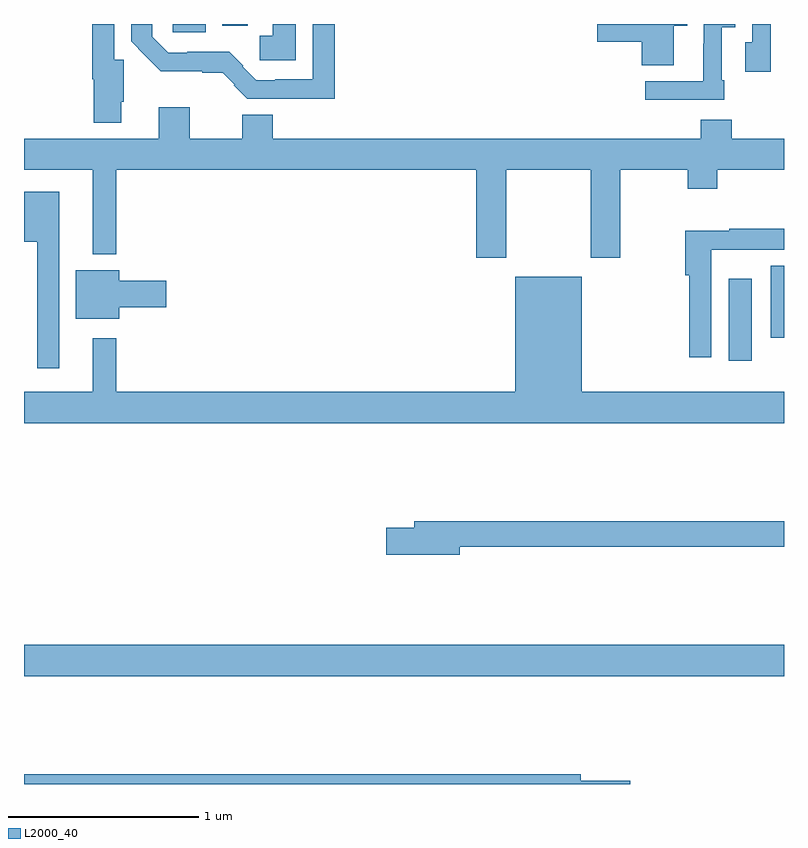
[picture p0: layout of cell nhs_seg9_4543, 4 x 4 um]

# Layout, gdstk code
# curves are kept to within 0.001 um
import gdstk
lib = gdstk.Library(unit=1e-6, precision=1e-09)
def R(c, l, rs):  # rectangles x0, y0, x1, y1
    for r in rs: c.add(gdstk.rectangle(r[:2], r[2:], *l))
def P(c, l, *ps):  # polygons
    for p in ps: c.add(gdstk.Polygon(p, *l))
L2000_40 = (2000, 40)

nhs_seg9_4543 = lib.new_cell('nhs_seg9_4543')
R(nhs_seg9_4543, L2000_40, [(371,1215.068,375,1215.232), (374.708,1216.728,374.83,1217.158), (374.93,1216.848,375,1217.228), (371.783,1218.456,371.956,1218.5), (372.044,1218.492,372.178,1218.5)])
P(nhs_seg9_4543, L2000_40, [(374.686,1218.205),(374.673,1218.205),(374.673,1218.484),(374.743,1218.484),(374.743,1218.5),(374.577,1218.5),(374.577,1218.395),(374.576,1218.395),(374.576,1218.198),(374.271,1218.198),(374.271,1218.102),(374.686,1218.102)],
  [(372.635,1218.5),(372.519,1218.5),(372.519,1218.208),(372.322,1218.208),(372.322,1218.204),(372.222,1218.204),(372.15,1218.276),(372.153,1218.279),(372.079,1218.353),(371.86,1218.353),(371.86,1218.348),(371.76,1218.348),(371.676,1218.432),(371.676,1218.5),(371.564,1218.5),(371.564,1218.408),(371.719,1218.251),(371.939,1218.251),(371.939,1218.243),(372.047,1218.243),(372.109,1218.181),(372.105,1218.177),(372.175,1218.107),(372.635,1218.107)],
  [(374.419,1218.491),(374.492,1218.491),(374.492,1218.5),(374.016,1218.5),(374.016,1218.407),(374.252,1218.407),(374.252,1218.283),(374.419,1218.283)],
  [(372.43,1218.5),(372.308,1218.5),(372.308,1218.439),(372.24,1218.439),(372.24,1218.31),(372.43,1218.31)],
  [(374.931,1218.5),(374.832,1218.5),(374.832,1218.405),(374.795,1218.405),(374.795,1218.249),(374.931,1218.249)],
  [(371.512,1218.091),(371.525,1218.091),(371.525,1218.312),(371.475,1218.312),(371.475,1218.5),(371.359,1218.5),(371.359,1218.209),(371.366,1218.209),(371.366,1217.981),(371.512,1217.981)],
  [(373.539,1217.732),(373.984,1217.732),(373.984,1217.271),(374.139,1217.271),(374.139,1217.732),(374.494,1217.732),(374.494,1217.633),(374.649,1217.633),(374.649,1217.732),(375,1217.732),(375,1217.896),(374.726,1217.896),(374.726,1217.995),(374.561,1217.995),(374.561,1217.896),(372.31,1217.896),(372.31,1218.022),(372.149,1218.022),(372.149,1217.896),(371.872,1217.896),(371.872,1218.061),(371.708,1218.061),(371.708,1217.896),(371,1217.896),(371,1217.732),(371.363,1217.732),(371.363,1217.288),(371.485,1217.288),(371.485,1217.732),(373.379,1217.732),(373.379,1217.271),(373.539,1217.271)],
  [(371.185,1217.617),(371,1217.617),(371,1217.354),(371.071,1217.354),(371.071,1216.689),(371.185,1216.689)],
  [(374.616,1217.312),(374.826,1217.312),(374.826,1217.313),(375,1217.313),(375,1217.422),(374.713,1217.422),(374.713,1217.412),(374.479,1217.412),(374.479,1217.177),(374.5,1217.177),(374.5,1216.746),(374.616,1216.746)],
  [(371.5,1217.008),(371.749,1217.008),(371.749,1217.15),(371.5,1217.15),(371.5,1217.203),(371.273,1217.203),(371.273,1216.949),(371.5,1216.949)],
  [(375,1216.564),(373.936,1216.564),(373.936,1217.17),(373.586,1217.17),(373.586,1216.564),(371.485,1216.564),(371.485,1216.846),(371.363,1216.846),(371.363,1216.564),(371,1216.564),(371,1216.4),(375,1216.4)],
  [(373.294,1215.748),(375,1215.748),(375,1215.884),(373.055,1215.884),(373.055,1215.848),(372.906,1215.848),(372.906,1215.706),(373.294,1215.706)],
  [(374.191,1214.516),(373.93,1214.516),(373.93,1214.552),(371,1214.552),(371,1214.5),(374.191,1214.5)])

lib.write_gds('nhs_seg9_4543.gds')
